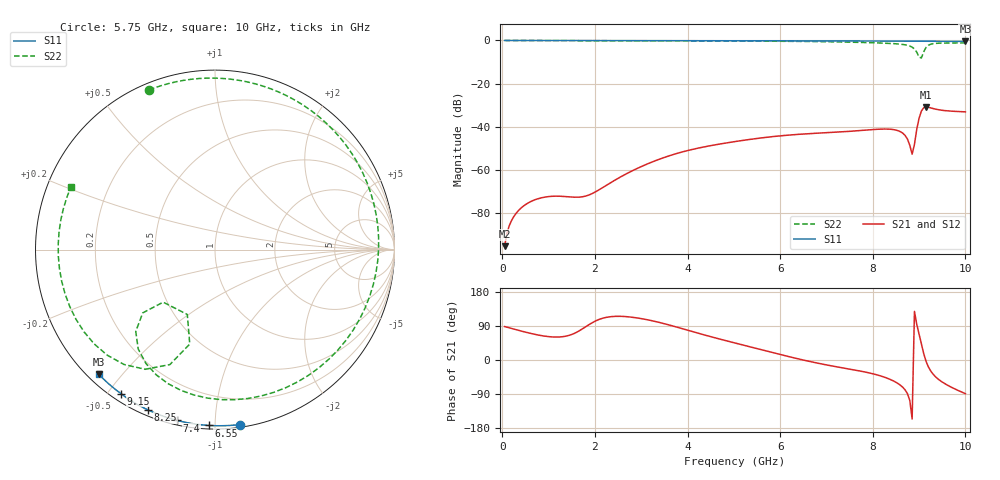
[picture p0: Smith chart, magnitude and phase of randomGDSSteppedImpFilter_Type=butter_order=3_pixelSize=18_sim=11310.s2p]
! freq	dB(S11)	phase(S11)	dB(S12)	phase(S12)
!  dB(S21)	phase(S21)	dB(S22)	phase(S22)
!S-par simulation data
#  GHz  S  DB  R 50
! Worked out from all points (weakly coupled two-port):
!   200 points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, 50 MHz to 10 GHz, reference 50 ohm
!   highest |S21| = -30.88 dB at 9.15 GHz (marker M1); lowest = -95.6 dB at 50 MHz (marker M2)
!   lowest |S11| = -0.5 dB at 10 GHz (marker M3), VSWR 38.41, Z = 1.55 - j21.7 ohm
!   |S11| at or under -10 dB: nowhere
!   |S22| runs from -8.1 to 0.0 dB; largest |S21 - S12| = 0
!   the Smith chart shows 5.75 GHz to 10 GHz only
!   S11 on the Smith chart (normalised r, x): 5.75 GHz: 0.02, -1.15; 6.55 GHz: 0.02, -0.96; 7.4 GHz: 0.02, -0.80; 8.25 GHz: 0.02, -0.67; 9.15 GHz: 0.03, -0.54; 10 GHz: 0.03, -0.43
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0.05  -0.00 -0.8  -95.58 88.3  -95.58 88.3  -0.00 -2.8
0.95  -0.02 -14.5  -72.67 62.4  -72.67 62.4  -0.06 -50.5
1.75  -0.03 -26.4  -72.55 83.7  -72.55 83.7  -0.10 -88.9
2.5  -0.05 -37.5  -64.06 115.3  -64.06 115.3  -0.13 -120.8
3.4  -0.07 -50.4  -55.11 98.8  -55.11 98.8  -0.16 -155.3
4.25  -0.09 -62.1  -49.93 70.0  -49.93 70.0  -0.21 173.4
5.05  -0.11 -72.9  -46.90 44.1  -46.90 44.1  -0.26 142.7
5.75  -0.14 -82.0  -44.89 22.3  -44.89 22.3  -0.33 112.5
6.55  -0.17 -92.1  -43.40 -1.5  -43.40 -1.5  -0.46 70.6
6.7  -0.18 -93.9  -43.21 -5.5  -43.21 -5.5  -0.50 61.5
7.4  -0.22 -102.5  -42.37 -21.9  -42.37 -21.9  -0.74 12.2
7.8  -0.25 -107.3  -41.74 -30.9  -41.74 -30.9  -0.94 -21.2
8.25  -0.28 -112.6  -41.16 -45.3  -41.16 -45.3  -1.26 -62.8
8.35  -0.29 -113.8  -41.20 -49.9  -41.20 -49.9  -1.36 -72.6
8.7  -0.32 -117.9  -44.18 -79.1  -44.18 -79.1  -2.03 -109.2
8.85  -0.33 -119.7  -52.83 -155.7  -52.83 -155.7  -3.10 -127.7
9  -0.35 -121.5  -36.14 68.3  -36.14 68.3  -7.72 -134.6
9.1  -0.37 -122.6  -31.24 16.8  -31.24 16.8  -5.27 -105.0
9.15  -0.37 -123.2  -30.88 -3.3  -30.88 -3.3  -3.24 -111.4
9.3  -0.38 -124.9  -31.63 -37.0  -31.63 -37.0  -1.51 -135.6
9.5  -0.40 -127.2  -32.46 -58.2  -32.46 -58.2  -1.22 -158.6
10  -0.45 -133.0  -33.17 -88.8  -33.17 -88.8  -1.15 156.6
